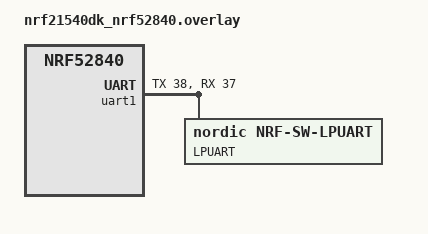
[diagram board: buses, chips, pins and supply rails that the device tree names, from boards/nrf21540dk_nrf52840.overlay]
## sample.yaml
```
sample:
  name: Low Power UART
  description: Low Power UART sample
tests:
  samples.peripheral.lpuart:
    build_only: true
    platform_allow: nrf52dk_nrf52832 nrf52833dk_nrf52833 nrf52840dk_nrf52840 nrf9160dk_nrf9160_ns
                    nrf5340dk_nrf5340_cpuapp nrf21540dk_nrf52840
    integration_platforms:
      - nrf52dk_nrf52832
      - nrf52833dk_nrf52833
      - nrf52840dk_nrf52840
      - nrf9160dk_nrf9160_ns
      - nrf5340dk_nrf5340_cpuapp
      - nrf21540dk_nrf52840
    tags: ci_build

  samples.peripheral.lpuart_int_driven:
    build_only: true
    platform_allow: nrf52dk_nrf52832 nrf52833dk_nrf52833 nrf52840dk_nrf52840 nrf9160dk_nrf9160_ns
                    nrf5340dk_nrf5340_cpuapp nrf21540dk_nrf52840
    integration_platforms:
      - nrf52dk_nrf52832
      - nrf52833dk_nrf52833
      - nrf52840dk_nrf52840
      - nrf9160dk_nrf9160_ns
      - nrf5340dk_nrf5340_cpuapp
      - nrf21540dk_nrf52840
    tags: ci_build
    extra_configs:
      - CONFIG_NRF_SW_LPUART_INT_DRIVEN=y
```

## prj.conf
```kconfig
#
# Copyright (c) 2020 Nordic Semiconductor
#
# SPDX-License-Identifier: LicenseRef-Nordic-5-Clause
#
CONFIG_NRF_SW_LPUART=y

# Sample is showing low power capabilities of low power uart module thus
# console/logging uart is disabled.
# Uncomment this section for debugging. Additionally, comment uart0 disabling
# in overlay.

# CONFIG_USE_SEGGER_RTT=n
# CONFIG_LOG=y
# CONFIG_NO_OPTIMIZATIONS=y
# CONFIG_ASSERT=y

# Comment this section for debugging
CONFIG_CONSOLE=n
CONFIG_UART_CONSOLE=n

# Uncomment to use lpuart using interrupt driven API
# CONFIG_NRF_SW_LPUART_INT_DRIVEN=y
```

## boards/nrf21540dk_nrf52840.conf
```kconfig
#
# Copyright (c) 2020 Nordic Semiconductor
#
# SPDX-License-Identifier: LicenseRef-Nordic-5-Clause
#

CONFIG_UART_1_ASYNC=y
CONFIG_UART_1_INTERRUPT_DRIVEN=n
CONFIG_UART_1_NRF_HW_ASYNC=y
CONFIG_UART_1_NRF_HW_ASYNC_TIMER=2
CONFIG_NRFX_TIMER2=y
```

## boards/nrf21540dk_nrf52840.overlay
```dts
/* SPDX-License-Identifier: LicenseRef-Nordic-5-Clause */

&uart1 {
	rx-pin = <37>;
	tx-pin = <38>;
	/delete-property/ rts-pin;
	/delete-property/ cts-pin;

	lpuart: nrf-sw-lpuart {
		compatible = "nordic,nrf-sw-lpuart";
		status = "okay";
		label = "LPUART";
		req-pin = <39>;
		rdy-pin = <40>;
	};
};

&uart0 {
	status = "disabled";
};

&gpiote {
	interrupts = <6 NRF_DEFAULT_IRQ_PRIORITY>;
};
```

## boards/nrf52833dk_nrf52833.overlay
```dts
/* SPDX-License-Identifier: LicenseRef-Nordic-5-Clause */

&uart1 {
	rx-pin = <20>;
	tx-pin = <21>;
	/delete-property/ rts-pin;
	/delete-property/ cts-pin;

	lpuart: nrf-sw-lpuart {
		compatible = "nordic,nrf-sw-lpuart";
		status = "okay";
		label = "LPUART";
		req-pin = <22>;
		rdy-pin = <23>;
	};
};

&uart0 {
	status = "disabled";
 };

&gpiote {
	interrupts = <6 NRF_DEFAULT_IRQ_PRIORITY>;
};
```

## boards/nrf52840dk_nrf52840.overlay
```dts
/* SPDX-License-Identifier: LicenseRef-Nordic-5-Clause */

&uart1 {
	rx-pin = <44>;
	tx-pin = <45>;
	/delete-property/ rts-pin;
	/delete-property/ cts-pin;

	lpuart: nrf-sw-lpuart {
		compatible = "nordic,nrf-sw-lpuart";
		status = "okay";
		label = "LPUART";
		req-pin = <46>;
		rdy-pin = <47>;
	};
};

&uart0 {
	status = "disabled";
};

&gpiote {
	interrupts = <6 NRF_DEFAULT_IRQ_PRIORITY>;
};
```

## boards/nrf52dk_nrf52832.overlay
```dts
/* SPDX-License-Identifier: LicenseRef-Nordic-5-Clause */

&uart0 {
	rx-pin = <22>;
	tx-pin = <23>;
	/delete-property/ rts-pin;
	/delete-property/ cts-pin;
	compatible = "nordic,nrf-uarte";

	lpuart: nrf-sw-lpuart {
		compatible = "nordic,nrf-sw-lpuart";
		status = "okay";
		label = "LPUART";
		req-pin = <24>;
		rdy-pin = <25>;
	};
};

&gpiote {
	interrupts = <6 NRF_DEFAULT_IRQ_PRIORITY>;
};
```

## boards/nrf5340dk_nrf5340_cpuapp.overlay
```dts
/* SPDX-License-Identifier: LicenseRef-Nordic-5-Clause */

&uart1 {
	status = "okay";
	current-speed = <115200>;
	rx-pin = <44>;
	tx-pin = <45>;
	/delete-property/ rts-pin;
	/delete-property/ cts-pin;

	lpuart: nrf-sw-lpuart {
		compatible = "nordic,nrf-sw-lpuart";
		status = "okay";
		label = "LPUART";
		req-pin = <46>;
		rdy-pin = <47>;
	};
};

&uart0 {
	status = "disabled";
};

&gpiote {
	interrupts = <13 NRF_DEFAULT_IRQ_PRIORITY>;
};
```

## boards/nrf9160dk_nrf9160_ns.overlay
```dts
/* SPDX-License-Identifier: LicenseRef-Nordic-5-Clause */

&uart1 {
	status = "okay";
	rx-pin = <10>;
	tx-pin = <11>;
	/delete-property/ rts-pin;
	/delete-property/ cts-pin;

	lpuart: nrf-sw-lpuart {
		compatible = "nordic,nrf-sw-lpuart";
		status = "okay";
		label = "LPUART";
		req-pin = <12>;
		rdy-pin = <13>;
	};
};

&uart0 {
	/delete-property/ rx-pin;
};

&gpiote {
	interrupts = <49 NRF_DEFAULT_IRQ_PRIORITY>;
};
```

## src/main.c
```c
/*
 * Copyright (c) 2020 Nordic Semiconductor ASA
 *
 * SPDX-License-Identifier: LicenseRef-Nordic-5-Clause
 */

#include <zephyr.h>
#include <logging/log.h>
#include <drivers/uart.h>

LOG_MODULE_REGISTER(app);

#define BUF_SIZE 64
static K_MEM_SLAB_DEFINE(uart_slab, BUF_SIZE, 3, 4);

static void uart_irq_handler(const struct device *dev, void *context)
{
	uint8_t buf[] = {1, 2, 3, 4, 5};

	if (uart_irq_tx_ready(dev)) {
		(void)uart_fifo_fill(dev, buf, sizeof(buf));
		uart_irq_tx_disable(dev);
	}

	if (uart_irq_rx_ready(dev)) {
		uint8_t buf[10];
		int len = uart_fifo_read(dev, buf, sizeof(buf));

		if (len) {
			printk("read %d bytes\n", len);
		}
	}
}

static void interrupt_driven(const struct device *dev)
{
	uint8_t c = 0xff;

	uart_irq_callback_set(dev, uart_irq_handler);
	uart_irq_rx_enable(dev);
	while (1) {
		uart_irq_tx_enable(dev);
		k_sleep(K_MSEC(500));

		uart_poll_out(dev, c);
		k_sleep(K_MSEC(100));
	}
}

static void uart_callback(const struct device *dev,
			  struct uart_event *evt,
			  void *user_data)
{
	struct device *uart = user_data;
	int err;

	switch (evt->type) {
	case UART_TX_DONE:
		LOG_INF("Tx sent %d bytes", evt->data.tx.len);
		break;

	case UART_TX_ABORTED:
		LOG_ERR("Tx aborted");
		break;

	case UART_RX_RDY:
		LOG_INF("Received data %d bytes", evt->data.rx.len);
		break;

	case UART_RX_BUF_REQUEST:
	{
		uint8_t *buf;

		err = k_mem_slab_alloc(&uart_slab, (void **)&buf, K_NO_WAIT);
		__ASSERT(err == 0, "Failed to allocate slab");

		err = uart_rx_buf_rsp(uart, buf, BUF_SIZE);
		__ASSERT(err == 0, "Failed to provide new buffer");
		break;
	}

	case UART_RX_BUF_RELEASED:
		k_mem_slab_free(&uart_slab, (void **)&evt->data.rx_buf.buf);
		break;

	case UART_RX_DISABLED:
		break;

	case UART_RX_STOPPED:
		break;
	}
}

static void async(const struct device *lpuart)
{
	uint8_t txbuf[5] = {1, 2, 3, 4, 5};
	int err;
	uint8_t *buf;

	err = k_mem_slab_alloc(&uart_slab, (void **)&buf, K_NO_WAIT);
	__ASSERT(err == 0, "Failed to alloc slab");

	err = uart_callback_set(lpuart, uart_callback, (void *)lpuart);
	__ASSERT(err == 0, "Failed to set callback");

	err = uart_rx_enable(lpuart, buf, BUF_SIZE, 10000);
	__ASSERT(err == 0, "Failed to enable RX");

	while (1) {
		err = uart_tx(lpuart, txbuf, sizeof(txbuf), 10000);
		__ASSERT(err == 0, "Failed to initiate transmission");

		k_sleep(K_MSEC(500));

		uart_poll_out(lpuart, txbuf[0]);
		k_sleep(K_MSEC(100));
	}
}

void main(void)
{
	const struct device *lpuart;

	k_msleep(1000);

	lpuart = device_get_binding("LPUART");
	__ASSERT(lpuart, "Failed to get the device");

	if (IS_ENABLED(CONFIG_NRF_SW_LPUART_INT_DRIVEN)) {
		interrupt_driven(lpuart);
	} else {
		async(lpuart);
	}
}
```
